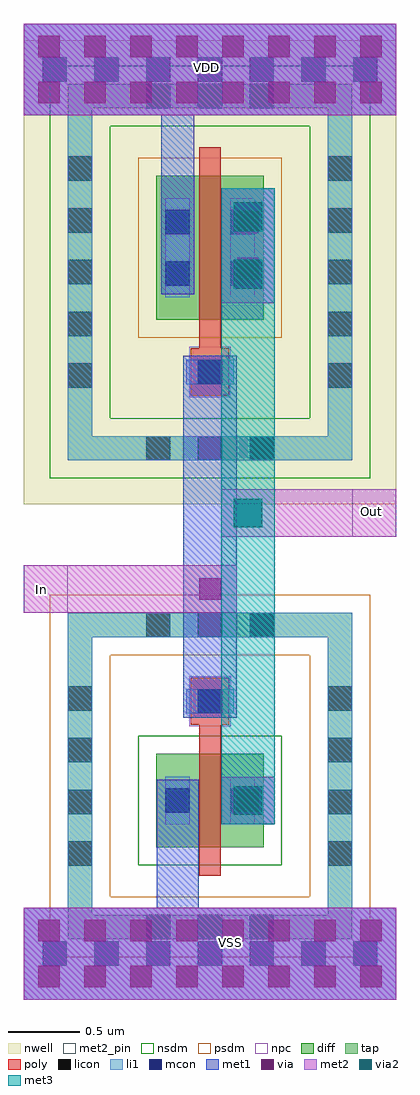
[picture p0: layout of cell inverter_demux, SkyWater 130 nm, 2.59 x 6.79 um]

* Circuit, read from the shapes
.subckt inverter_demux In Out VDD VSS
XM1 Out In VSS VSS sky130_fd_pr__nfet_01v8 w=0.65 l=0.15
XM2 Out In VDD VDD sky130_fd_pr__pfet_01v8 w=1 l=0.15
.ends

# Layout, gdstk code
import gdstk
lib = gdstk.Library(unit=1e-6, precision=1e-09)
def R(c, l, rs):  # rectangles x0, y0, x1, y1
    for r in rs: c.add(gdstk.rectangle(r[:2], r[2:], *l))
def A(c, l, x, y, w, h, nx, ny, dx, dy):  # array of equal rectangles
    R(c, l, [(x+i*dx, y+j*dy, x+i*dx+w, y+j*dy+h) for i in range(nx) for j in range(ny)])
def P(c, l, *ps):  # polygons
    for p in ps: c.add(gdstk.Polygon(p, *l))
nwell = (64, 20)
diff = (65, 20)
tap = (65, 44)
poly = (66, 20)
licon = (66, 44)
li1 = (67, 20)
mcon = (67, 44)
met1 = (68, 20)
via = (68, 44)
met2_pin = (69, 16)
met2 = (69, 20)
via2 = (69, 44)
met3 = (70, 20)
nsdm = (93, 44)
psdm = (94, 20)
npc = (95, 20)

inverter_demux = lib.new_cell('inverter_demux')
R(inverter_demux, nwell, [(5.235,0.735,7.825,3.965)])
R(inverter_demux, diff, [(6.155,-1.65,6.905,-1), (6.155,2.02,6.905,3.02)])
P(inverter_demux, tap, [(5.54,-2.29),(5.54,-0.19),(5.71,-0.19),(5.71,-2.12),(7.35,-2.12),(7.35,-0.19),(5.54,-0.19),(5.54,-0.02),(7.52,-0.02),(7.52,-2.29)],
  [(5.54,1.04),(5.54,3.49),(5.71,3.49),(5.71,1.21),(7.35,1.21),(7.35,3.49),(5.54,3.49),(5.54,3.66),(7.52,3.66),(7.52,1.04)])
R(inverter_demux, poly, [(6.455,-1.85,6.605,-0.8), (6.395,-0.8,6.665,-0.47), (6.395,1.49,6.665,1.82), (6.455,1.82,6.605,3.22)])
A(inverter_demux, licon, 6.085, -2.29, 0.17, 0.17, 3, 2, 0.36, 2.1)
A(inverter_demux, licon, 5.54, -1.78, 0.17, 0.17, 1, 4, 0, 0.36)
A(inverter_demux, licon, 7.35, -1.78, 0.17, 0.17, 1, 4, 0, 0.36)
A(inverter_demux, licon, 6.085, 1.04, 0.17, 0.17, 3, 2, 0.36, 2.45)
A(inverter_demux, licon, 5.54, 1.545, 0.17, 0.17, 1, 5, 0, 0.36)
A(inverter_demux, licon, 7.35, 1.545, 0.17, 0.17, 1, 5, 0, 0.36)
R(inverter_demux, licon, [(6.22,-1.41,6.39,-1.24), (6.67,-1.41,6.84,-1.24), (6.445,-0.72,6.615,-0.55), (6.445,1.57,6.615,1.74), (6.22,2.255,6.39,2.425), (6.67,2.255,6.84,2.425), (6.22,2.615,6.39,2.785), (6.67,2.615,6.84,2.785)])
R(inverter_demux, li1, [(5.235,-2.71,7.825,-2.07), (6.22,-1.49,6.39,-1.16), (6.67,-1.49,6.84,-1.16), (6.365,-0.72,6.695,-0.55), (6.365,1.57,6.695,1.74), (6.22,2.175,6.39,2.865), (6.67,2.175,6.84,2.865), (5.235,3.44,7.825,4.08)])
P(inverter_demux, li1, [(5.54,-2.29),(5.54,-0.19),(5.71,-0.19),(5.71,-2.12),(7.35,-2.12),(7.35,-0.19),(5.54,-0.19),(5.54,-0.02),(7.52,-0.02),(7.52,-2.29)],
  [(5.54,1.04),(5.54,3.49),(5.71,3.49),(5.71,1.21),(7.35,1.21),(7.35,3.49),(5.54,3.49),(5.54,3.66),(7.52,3.66),(7.52,1.04)])
A(inverter_demux, mcon, 5.365, -2.475, 0.17, 0.17, 7, 2, 0.36, 6.15)
R(inverter_demux, mcon, [(6.22,-1.41,6.39,-1.24), (6.67,-1.41,6.84,-1.24), (6.445,-0.72,6.615,-0.55), (6.445,1.57,6.615,1.74), (6.22,2.255,6.39,2.425), (6.67,2.255,6.84,2.425), (6.22,2.615,6.39,2.785), (6.67,2.615,6.84,2.785)])
R(inverter_demux, met1, [(5.235,-2.71,7.825,-2.07), (6.16,-2.07,6.45,-2.06), (6.16,-2.06,6.45,-1.47), (6.61,-1.49,6.98,-1.16), (6.16,-1.47,6.45,-1.18), (6.61,-1.47,6.9,-1.18), (6.345,-0.75,6.715,-0.52), (6.345,-0.52,6.715,-0.02), (6.345,-0.02,6.715,0.31), (6.345,0.31,6.715,1.54), (6.345,1.54,6.715,1.77), (6.61,2.135,6.98,2.935), (6.19,2.195,6.42,2.845), (6.64,2.195,6.87,2.845), (6.19,2.845,6.42,3.505), (5.235,3.44,7.825,4.08)])
A(inverter_demux, via, 5.335, -2.625, 0.15, 0.15, 8, 2, 0.32, 0.32)
A(inverter_demux, via, 5.335, 3.525, 0.15, 0.15, 8, 2, 0.32, 0.32)
R(inverter_demux, via, [(6.72,-1.4,6.87,-1.25), (6.455,0.07,6.605,0.22), (6.72,2.3,6.87,2.45), (6.72,2.62,6.87,2.77)])
R(inverter_demux, met2_pin, [(5.235,-2.71,7.825,-2.07), (5.235,-0.02,5.54,0.31), (7.52,0.51,7.825,0.84), (5.235,3.44,7.825,4.08)])
R(inverter_demux, met2, [(5.235,-2.71,7.825,-2.07), (6.61,-1.49,6.98,-1.16), (5.235,-0.02,6.345,0.31), (6.345,-0.02,6.715,0.31), (6.61,0.51,6.98,0.84), (6.98,0.51,7.825,0.84), (6.61,2.135,6.98,2.935), (5.235,3.44,7.825,4.08)])
R(inverter_demux, via2, [(6.695,-1.425,6.895,-1.225), (6.695,0.575,6.895,0.775), (6.695,2.235,6.895,2.435), (6.695,2.635,6.895,2.835)])
R(inverter_demux, met3, [(6.61,-1.49,6.98,-1.16), (6.61,-1.16,6.98,0.71), (6.61,0.51,6.98,0.84), (6.61,0.84,6.98,2.135), (6.61,2.135,6.98,2.935)])
R(inverter_demux, nsdm, [(6.03,-1.775,7.03,-0.875)])
P(inverter_demux, nsdm, [(5.415,0.915),(5.415,3.365),(5.835,3.365),(5.835,1.335),(7.225,1.335),(7.225,3.365),(5.415,3.365),(5.415,3.785),(7.645,3.785),(7.645,0.915)])
R(inverter_demux, psdm, [(6.03,1.895,7.03,3.145)])
P(inverter_demux, psdm, [(5.415,-2.415),(5.415,-0.315),(5.835,-0.315),(5.835,-1.995),(7.225,-1.995),(7.225,-0.315),(5.415,-0.315),(5.415,0.105),(7.645,0.105),(7.645,-2.415)])
R(inverter_demux, npc, [(6.385,-0.81,6.675,-0.46), (6.385,1.48,6.675,1.83)])
inverter_demux.add(gdstk.Label('Out', (7.655,0.685), layer=69, texttype=5))
inverter_demux.add(gdstk.Label('VSS', (6.675,-2.31), layer=69, texttype=5))
inverter_demux.add(gdstk.Label('VDD', (6.505,3.775), layer=69, texttype=5))
inverter_demux.add(gdstk.Label('In', (5.36,0.14), layer=69, texttype=5))

lib.write_gds('inverter_demux.gds')
